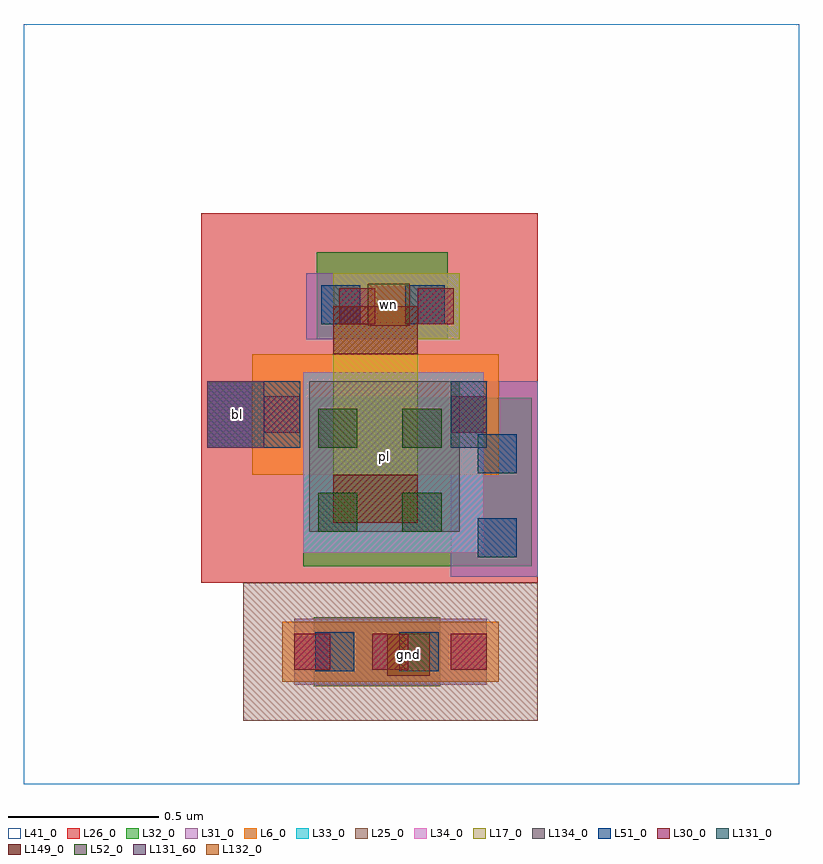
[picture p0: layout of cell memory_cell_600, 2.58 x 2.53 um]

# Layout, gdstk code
from math import pi, radians
import gdstk
lib = gdstk.Library(unit=1e-6, precision=1e-09)
def R(c, l, rs):  # rectangles x0, y0, x1, y1
    for r in rs: c.add(gdstk.rectangle(r[:2], r[2:], *l))
def A(c, l, x, y, w, h, nx, ny, dx, dy):  # array of equal rectangles
    R(c, l, [(x+i*dx, y+j*dy, x+i*dx+w, y+j*dy+h) for i in range(nx) for j in range(ny)])
L6_0 = (6, 0)
L17_0 = (17, 0)
L25_0 = (25, 0)
L26_0 = (26, 0)
L30_0 = (30, 0)
L31_0 = (31, 0)
L32_0 = (32, 0)
L33_0 = (33, 0)
L34_0 = (34, 0)
L41_0 = (41, 0)
L51_0 = (51, 0)
L52_0 = (52, 0)
L131_0 = (131, 0)
L131_60 = (131, 60)
L132_0 = (132, 0)
L134_0 = (134, 0)
L149_0 = (149, 0)

pc_ct = lib.new_cell('pc_ct')
R(pc_ct, L30_0, [(0,0,0.12,0.12)])

nsvt25_cdns_578062945490 = lib.new_cell('nsvt25_CDNS_578062945490')
R(nsvt25_cdns_578062945490, L6_0, [(-0.27,0,0,0.4), (-0.27,0,0.55,0.4), (0.28,0,0.55,0.4)])
R(nsvt25_cdns_578062945490, L17_0, [(0,-0.16,0.28,0.56)])
R(nsvt25_cdns_578062945490, L26_0, [(-0.4,-0.36,0.68,0.76)])
R(nsvt25_cdns_578062945490, L31_0, [(-0.23,0.09,-0.11,0.31), (0.39,0.09,0.51,0.31)])
R(nsvt25_cdns_578062945490, L41_0, [(-0.54,-0.34,0.82,0.74)])
R(nsvt25_cdns_578062945490, L131_0, [(-0.23,0.09,-0.11,0.31), (0.39,0.09,0.51,0.31)])
R(nsvt25_cdns_578062945490, L149_0, [(0,-0.16,0.28,0), (0,0.4,0.28,0.56)])
r = gdstk.Reference(pc_ct, (0.39,0.14)); r.repetition = gdstk.Repetition(1, 1, v1=(0.26,0), v2=(0,0.26)); nsvt25_cdns_578062945490.add(r)
r = gdstk.Reference(pc_ct, (-0.23,0.14)); r.repetition = gdstk.Repetition(1, 1, v1=(0.26,0), v2=(0,0.26)); nsvt25_cdns_578062945490.add(r)
nsvt25_cdns_578062945490.add(gdstk.Label('d', (0.28,0), layer=6, texttype=0))
nsvt25_cdns_578062945490.add(gdstk.Label('s', (0,0), layer=6, texttype=0))
nsvt25_cdns_578062945490.add(gdstk.Label('d', (0.415,0.2), layer=127, texttype=0))
nsvt25_cdns_578062945490.add(gdstk.Label('s', (-0.135,0.2), layer=127, texttype=0))
nsvt25_cdns_578062945490.add(gdstk.Label('d', (0.45,0.2), layer=131, texttype=0))
nsvt25_cdns_578062945490.add(gdstk.Label('s', (-0.17,0.2), layer=131, texttype=0))
nsvt25_cdns_578062945490.add(gdstk.Label('g', (0.14,0.48), layer=149, texttype=0))
nsvt25_cdns_578062945490.add(gdstk.Label('g', (0.14,-0.08), layer=149, texttype=0))

m2_m1_dblcut_hv_e_dblcut = lib.new_cell('M2_M1_DBLCUT_HV_E_DBLCUT_RULE')
R(m2_m1_dblcut_hv_e_dblcut, L31_0, [(-0.115,-0.07,0.395,0.07)])
R(m2_m1_dblcut_hv_e_dblcut, L32_0, [(-0.07,-0.115,0.35,0.115)])
R(m2_m1_dblcut_hv_e_dblcut, L51_0, [(-0.065,-0.065,0.065,0.065), (0.215,-0.065,0.345,0.065)])

m1__pod_cdns_57806294549 = lib.new_cell('M1__POD_CDNS_578062945491')
R(m1__pod_cdns_57806294549, L6_0, [(-0.36,-0.1,0.36,0.1)])
R(m1__pod_cdns_57806294549, L25_0, [(-0.49,-0.23,0.49,0.23)])
A(m1__pod_cdns_57806294549, L30_0, -0.32, -0.06, 0.12, 0.12, 3, 1, 0.26, 0)
R(m1__pod_cdns_57806294549, L31_0, [(-0.32,-0.11,0.32,0.11)])

m3_m2_quadcut_nw = lib.new_cell('M3_M2_QUADCUT_NW')
R(m3_m2_quadcut_nw, L32_0, [(-0.395,-0.07,0.115,0.35)])
R(m3_m2_quadcut_nw, L33_0, [(-0.395,-0.07,0.115,0.35)])
R(m3_m2_quadcut_nw, L52_0, [(-0.345,-0.065,-0.215,0.065), (-0.065,-0.065,0.065,0.065), (-0.345,0.215,-0.215,0.345), (-0.065,0.215,0.065,0.345)])

m1__po_cdns_578062945490 = lib.new_cell('M1__PO_CDNS_578062945490')
R(m1__po_cdns_578062945490, L17_0, [(-0.21,-0.11,0.21,0.11)])
R(m1__po_cdns_578062945490, L30_0, [(-0.19,-0.06,-0.07,0.06), (0.07,-0.06,0.19,0.06)])
R(m1__po_cdns_578062945490, L31_0, [(-0.19,-0.11,0.19,0.11)])

memory_cell_600 = lib.new_cell('memory_cell_600')
R(memory_cell_600, L26_0, [(0.56,0.64,1.68,1.8), (0.56,1.8,1.68,1.85), (0.56,1.85,1.68,1.87)])
R(memory_cell_600, L31_0, [(1.39,0.66,1.68,1.11), (0.58,1.09,0.89,1.31), (0.91,1.45,1.42,1.67)])
R(memory_cell_600, L32_0, [(0.9,0.695,1.66,1.225), (0.9,1.225,1.66,1.255), (0.945,1.45,1.38,1.74)])
R(memory_cell_600, L33_0, [(0.9,0.74,1.5,1.34)])
R(memory_cell_600, L34_0, [(0.9,0.74,1.5,1.34)])
R(memory_cell_600, L41_0, [(-0.03,-0.03,2.55,2.5)])
R(memory_cell_600, L131_0, [(0.58,1.09,0.78,1.31)])
R(memory_cell_600, L131_60, [(0.58,1.09,0.77,1.31)])
R(memory_cell_600, L132_0, [(1.18,0.33,1.32,0.47), (1.115,1.495,1.255,1.635)])
R(memory_cell_600, L134_0, [(0.92,0.81,1.42,1.31)])
memory_cell_600.add(gdstk.FlexPath([(1.48,1.2),(1.68,1.2)], 0.22, ends="flush", simple_path=True, layer=31, datatype=0))  # L31_0
memory_cell_600.add(gdstk.Reference(nsvt25_cdns_578062945490, (1,1)))
memory_cell_600.add(gdstk.Reference(m2_m1_dblcut_hv_e_dblcut, (1.545,0.79), rotation=pi/2))
memory_cell_600.add(gdstk.Reference(m2_m1_dblcut_hv_e_dblcut, (1.005,0.41)))
memory_cell_600.add(gdstk.Reference(m2_m1_dblcut_hv_e_dblcut, (1.025,1.565)))
memory_cell_600.add(gdstk.Reference(m1__pod_cdns_57806294549, (1.19,0.41)))
memory_cell_600.add(gdstk.Reference(m3_m2_quadcut_nw, (1.295,0.875)))
memory_cell_600.add(gdstk.Reference(m1__po_cdns_578062945490, (1.21,1.56)))
memory_cell_600.add(gdstk.Label('bl', (0.68,1.2), layer=131, texttype=0))
memory_cell_600.add(gdstk.Label('gnd', (1.25,0.4), layer=132, texttype=0))
memory_cell_600.add(gdstk.Label('wn', (1.185,1.565), layer=132, texttype=0))
memory_cell_600.add(gdstk.Label('pl', (1.17,1.06), layer=134, texttype=0))

lib.write_gds('memory_cell_600.gds')
